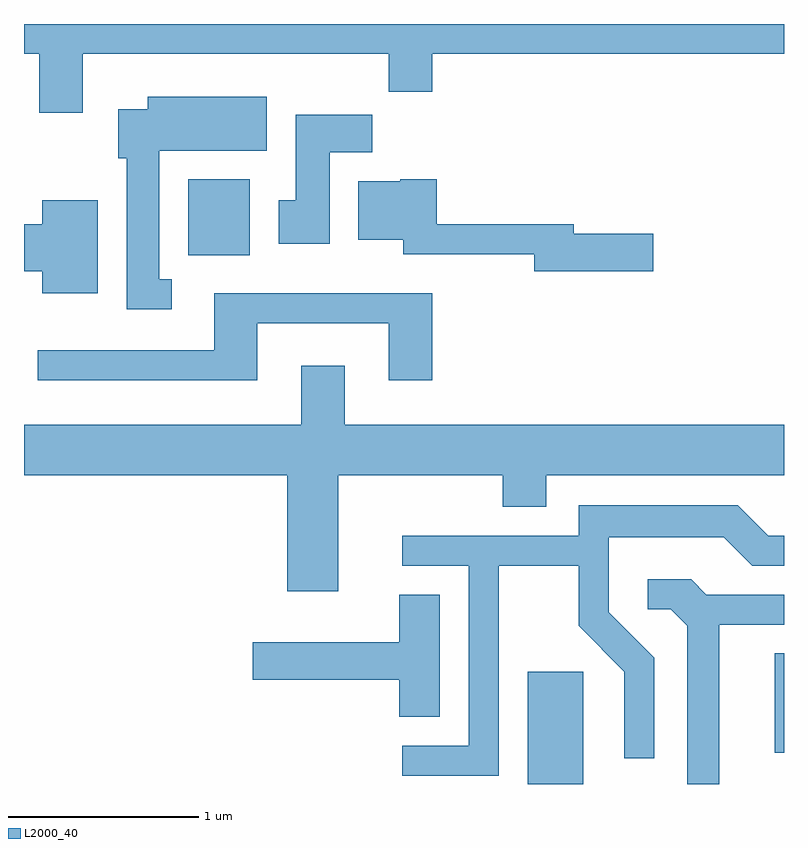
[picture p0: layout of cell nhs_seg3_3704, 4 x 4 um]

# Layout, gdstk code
import gdstk
lib = gdstk.Library(unit=1e-6, precision=1e-09)
def R(c, l, rs):  # rectangles x0, y0, x1, y1
    for r in rs: c.add(gdstk.rectangle(r[:2], r[2:], *l))
def P(c, l, *ps):  # polygons
    for p in ps: c.add(gdstk.Polygon(p, *l))
L2000_40 = (2000, 40)

nhs_seg3_3704 = lib.new_cell('nhs_seg3_3704')
R(nhs_seg3_3704, L2000_40, [(296.261,1179.892,296.554,1180.484), (297.561,1180.056,297.611,1180.579), (294.476,1182.676,294.799,1183.074)])
P(nhs_seg3_3704, L2000_40, [(293.919,1183.736),(295.531,1183.736),(295.531,1183.536),(295.759,1183.536),(295.759,1183.736),(297.611,1183.736),(297.611,1183.892),(293.611,1183.892),(293.611,1183.736),(293.691,1183.736),(293.691,1183.426),(293.919,1183.426)],
  [(294.388,1182.549),(294.324,1182.549),(294.324,1183.226),(294.889,1183.226),(294.889,1183.509),(294.261,1183.509),(294.261,1183.444),(294.106,1183.444),(294.106,1183.186),(294.151,1183.186),(294.151,1182.391),(294.388,1182.391)],
  [(295.219,1183.216),(295.444,1183.216),(295.444,1183.414),(295.041,1183.414),(295.041,1182.964),(294.951,1182.964),(294.951,1182.736),(295.219,1182.736)],
  [(296.924,1182.789),(296.504,1182.789),(296.504,1182.839),(295.784,1182.839),(295.784,1183.074),(295.59,1183.074),(295.59,1183.064),(295.371,1183.064),(295.371,1182.756),(295.606,1182.756),(295.606,1182.681),(296.296,1182.681),(296.296,1182.591),(296.924,1182.591)],
  [(293.999,1182.964),(293.706,1182.964),(293.706,1182.839),(293.611,1182.839),(293.611,1182.591),(293.706,1182.591),(293.706,1182.476),(293.999,1182.476)],
  [(294.839,1182.316),(295.531,1182.316),(295.531,1182.016),(295.759,1182.016),(295.759,1182.474),(294.611,1182.474),(294.611,1182.174),(293.683,1182.174),(293.683,1182.016),(294.839,1182.016)],
  [(295.264,1181.516),(296.131,1181.516),(296.131,1181.351),(296.359,1181.351),(296.359,1181.516),(297.611,1181.516),(297.611,1181.784),(295.299,1181.784),(295.299,1182.094),(295.071,1182.094),(295.071,1181.784),(293.611,1181.784),(293.611,1181.516),(294.996,1181.516),(294.996,1180.906),(295.264,1180.906)],
  [(296.109,1181.041),(296.531,1181.041),(296.531,1180.724),(296.771,1180.484),(296.771,1180.028),(296.929,1180.028),(296.929,1180.557),(296.689,1180.797),(296.689,1181.191),(297.294,1181.191),(297.444,1181.041),(297.611,1181.041),(297.611,1181.199),(297.527,1181.199),(297.367,1181.359),(296.531,1181.359),(296.531,1181.199),(295.603,1181.199),(295.603,1181.041),(295.951,1181.041),(295.951,1180.094),(295.603,1180.094),(295.603,1179.936),(296.109,1179.936)],
  [(297.269,1180.731),(297.611,1180.731),(297.611,1180.889),(297.202,1180.889),(297.122,1180.969),(296.893,1180.969),(296.893,1180.811),(297.014,1180.811),(297.101,1180.724),(297.101,1179.892),(297.269,1179.892)],
  [(295.799,1180.889),(295.586,1180.889),(295.586,1180.639),(294.816,1180.639),(294.816,1180.441),(295.586,1180.441),(295.586,1180.246),(295.799,1180.246)])

lib.write_gds('nhs_seg3_3704.gds')
